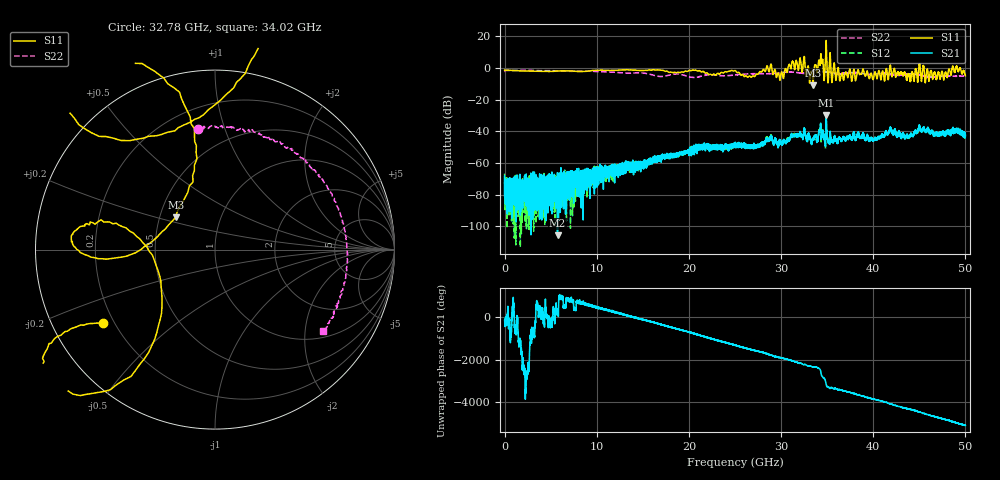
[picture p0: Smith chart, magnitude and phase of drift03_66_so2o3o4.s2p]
!Created with skrf (http://scikit-rf.org).
# Hz S RI R 50.0
!freq ReS11 ImS11 ReS21 ImS21 ReS12 ImS12 ReS22 ImS22
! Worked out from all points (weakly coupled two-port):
!   10001 points, 300 kHz to 50 GHz, reference 50 ohm
!   highest |S21| = -29.61 dB at 34.9 GHz (marker M1); lowest = -105.5 dB at 5.74 GHz (marker M2)
!   lowest |S11| = -10.9 dB at 33.47 GHz (marker M3), VSWR 1.79, Z = 30.3 + j11.9 ohm
!   |S11| at or under -10 dB: 33.44859 GHz to 33.48152 GHz (32.93 MHz wide, 0.0984 % of centre)
!   |S22| runs from -5.9 to -1.3 dB; largest |S21 - S12| = 0.0076
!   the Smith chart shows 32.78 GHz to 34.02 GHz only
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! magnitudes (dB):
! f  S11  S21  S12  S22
! 300 kHz  -1.3  -68.3  -66.6  -2.0
! 255.3 MHz  -1.3  -75.0  -101.2  -1.4
! 790.3 MHz  -1.5  -77.1  -78.9  -1.5
! 5.74 GHz  -1.9  -105.5  -75.0  -1.7
! 8.335 GHz  -2.2  -74.7  -72.1  -1.9
! 16.67 GHz  -1.1  -56.9  -56.1  -5.2
! 25 GHz  -1.5  -47.8  -49.0  -4.3
! 26.92 GHz  -4.9  -49.6  -48.9  -3.5
! 28.73 GHz  -2.2  -45.7  -45.8  -3.5
! 30.06 GHz  -2.5  -47.5  -47.1  -2.8
! 31.87 GHz  -1.4  -42.4  -42.1  -2.9
! 33.34 GHz  -2.2  -47.7  -47.2  -2.9
! 33.47 GHz  -10.9  -44.5  -45.3  -2.8
! 34.29 GHz  6.2  -34.8  -35.6  -2.3
! 34.9 GHz  17.5  -29.6  -31.7  -2.4
! 36.58 GHz  -3.5  -45.6  -45.9  -3.6
! 40.17 GHz  -2.5  -44.6  -44.2  -3.7
! 41.67 GHz  -5.4  -40.4  -40.6  -3.7
! 43.84 GHz  -3.6  -43.2  -43.4  -3.9
! 45.18 GHz  -5.0  -39.5  -38.9  -4.3
! 49.21 GHz  -2.1  -39.4  -38.6  -5.1
! 50 GHz  -4.8  -42.7  -42.4  -5.0
